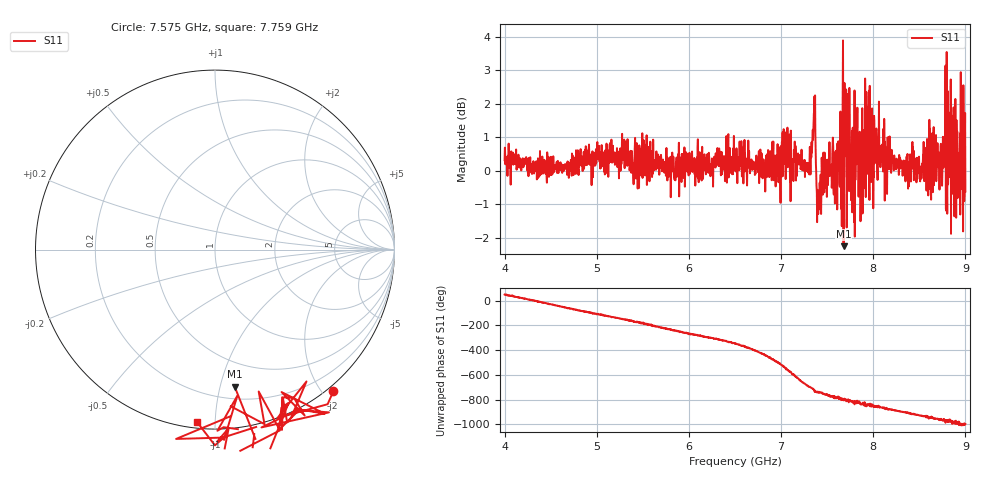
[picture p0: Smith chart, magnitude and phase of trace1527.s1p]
! Created with skrf 1.8.0 (http://scikit-rf.org).
# Hz S RI R 50.0
!freq ReS11 ImS11
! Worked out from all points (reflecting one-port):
!   1601 points, 4 GHz to 9 GHz, reference 50 ohm
!   lowest |S11| = -2.2 dB at 7.678 GHz (marker M1), VSWR 7.77, Z = 14.7 - j55.5 ohm
!   phase of S11 starts at 50 deg and turns -1047 deg over the sweep
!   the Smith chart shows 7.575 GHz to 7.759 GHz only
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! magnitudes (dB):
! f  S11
! 4 GHz  0.3
! 4.625 GHz  -0.1
! 5.25 GHz  0.1
! 5.875 GHz  0.1
! 6.5 GHz  0.2
! 6.947 GHz  0.2
! 7.047 GHz  1.1
! 7.125 GHz  0.1
! 7.284 GHz  0.1
! 7.35 GHz  1.2
! 7.412 GHz  -1.1
! 7.466 GHz  0.0
! 7.541 GHz  0.1
! 7.594 GHz  -0.8
! 7.678 GHz  -2.2
! 7.688 GHz  2.6
! 7.738 GHz  -0.6
! 7.75 GHz  0.6
! 7.784 GHz  -0.1
! 7.928 GHz  0.9
! 7.981 GHz  -0.3
! 8.038 GHz  1.1
! 8.375 GHz  0.0
! 8.728 GHz  0.1
! 8.816 GHz  0.2
! 8.875 GHz  1.4
! 8.972 GHz  0.5
! 9 GHz  -0.6
